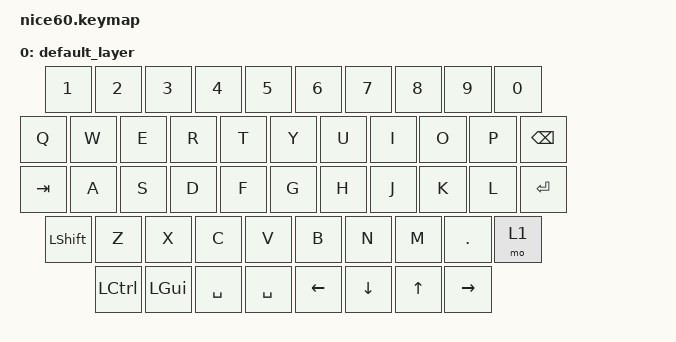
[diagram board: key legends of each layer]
/*
 * Copyright (c) 2021 Nick Winans
 *
 * SPDX-License-Identifier: MIT
 */

#include <behaviors.dtsi>
#include <dt-bindings/zmk/keys.h>
#include <dt-bindings/zmk/bt.h>

/ {
	keymap {
		compatible = "zmk,keymap";
		
		default_layer {
// ------------------------------------------------------------------------------------------
// | OLED |  1  |  2  |  3  |  4  |  5  |  6  |  7  |  8  |  9  |  0  |  -  |  =  |   BKSP   |
// | TAB  |  Q  |  W  |  E  |  R  |  T  |  Y  |  U  |  I  |  O  |  P  |  [  |  ]  |   "|"   |
// | CAPS  |  A  |  S  |  D  |  F  |  G  |  H  |  J  |  K  |  L  |  ;  |  '  |     ENTER    |
// |  SHIFT  |  Z  |  X  |  C  |  V  |  B  |  N  |  M  |  ,  |  .  |  /  |      SHIFT       |
// |  CTL  |  WIN  |  ALT  |            SPACE              |  ALT  |  WIN  |  MO(1) |  CTL  |
// ------------------------------------------------------------------------------------------
			bindings = <
	&kp N1 &kp N2 &kp N3 &kp N4 &kp N5 &kp N6 &kp N7 &kp N8 &kp N9 &kp N0 
	&kp Q  &kp W  &kp E  &kp R  &kp T  &kp Y  &kp U  &kp I  &kp O  &kp P  &kp BSPC
	&kp TAB  &kp A  &kp S  &kp D  &kp F  &kp G  &kp H  &kp J  &kp K  &kp L &kp RET
	&kp LSHFT   &kp Z  &kp X  &kp C  &kp V  &kp B  &kp N  &kp M &kp DOT &mo 1
	&kp LCTRL &kp LGUI &kp SPACE    &kp SPACE   &kp LEFT  &kp DOWN  &kp UP   &kp RIGHT
			>;
		};


	};
};
